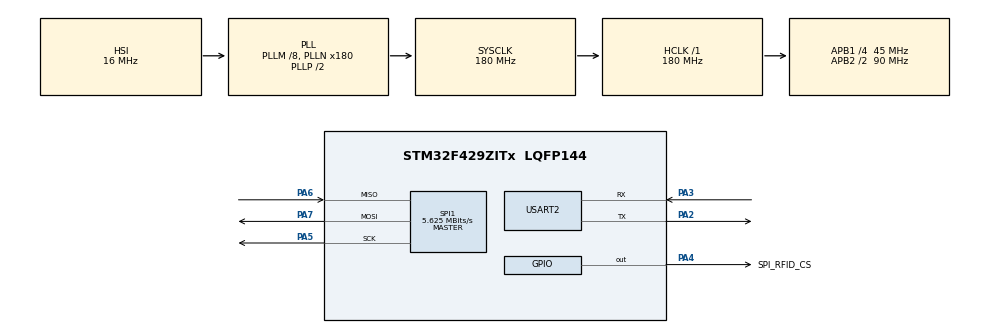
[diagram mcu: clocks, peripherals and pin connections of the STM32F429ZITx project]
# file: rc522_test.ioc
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Mcu.Family=STM32F4
Mcu.Name=STM32F429ZITx
Mcu.Package=LQFP144
NVIC.PriorityGroup=NVIC_PRIORITYGROUP_4
NVIC.USART2_IRQn=true\:0\:0\:false\:true\:true\:1\:true\:true
PA2.Mode=Asynchronous
PA2.Signal=USART2_TX
PA3.Mode=Asynchronous
PA3.Signal=USART2_RX
PA4.GPIO_Label=SPI_RFID_CS
PA4.GPIO_PuPd=GPIO_PULLUP
PA4.Signal=GPIO_Output
PA5.Mode=Full_Duplex_Master
PA5.Signal=SPI1_SCK
PA6.Mode=Full_Duplex_Master
PA6.Signal=SPI1_MISO
PA7.Mode=Full_Duplex_Master
PA7.Signal=SPI1_MOSI
ProjectManager.HeapSize=0x200
ProjectManager.StackSize=0x400
ProjectManager.TargetToolchain=TrueSTUDIO
RCC.48MHZClocksFreq_Value=90000000
RCC.AHBFreq_Value=180000000
RCC.APB1CLKDivider=RCC_HCLK_DIV4
RCC.APB1Freq_Value=45000000
RCC.APB1TimFreq_Value=90000000
RCC.APB2CLKDivider=RCC_HCLK_DIV2
RCC.APB2Freq_Value=90000000
RCC.APB2TimFreq_Value=180000000
RCC.CortexFreq_Value=180000000
RCC.HCLKFreq_Value=180000000
RCC.HSE_VALUE=25000000
RCC.HSI_VALUE=16000000
RCC.LSE_VALUE=32768
RCC.PLLM=8
RCC.PLLN=180
RCC.SYSCLKFreq_VALUE=180000000
RCC.SYSCLKSource=RCC_SYSCLKSOURCE_PLLCLK
RCC.VCOOutputFreq_Value=360000000
SPI1.BaudRatePrescaler=SPI_BAUDRATEPRESCALER_16
SPI1.CalculateBaudRate=5.625 MBits/s
SPI1.Direction=SPI_DIRECTION_2LINES
SPI1.Mode=SPI_MODE_MASTER
SPI1.VirtualType=VM_MASTER
USART2.VirtualMode=VM_ASYNC
board=custom

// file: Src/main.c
/* USER CODE BEGIN Header */
/**
  ******************************************************************************
  * @file           : main.c
  * @brief          : Main program body
  ******************************************************************************
  * @attention
  *
  * <h2><center>&copy; Copyright (c) 2019 STMicroelectronics.
  * All rights reserved.</center></h2>
  *
  * This software component is licensed by ST under BSD 3-Clause license,
  * the "License"; You may not use this file except in compliance with the
  * License. You may obtain a copy of the License at:
  *                        opensource.org/licenses/BSD-3-Clause
  *
  ******************************************************************************
  ******************************************************************************
  ******************************************************************************
  ******************************************************************************
  ******************************************************************************
  * 								@attention
  *
  *   WYSTARCZY INIT SPI1
  *   + GPIO_Output jako RFID_SPI_CS (hardwar'owy NNS Signal zabija czytnik...)
  *
  *
  ******************************************************************************
  ******************************************************************************
  ******************************************************************************
  ******************************************************************************
  ******************************************************************************
  */
/* USER CODE END Header */

#include "main.h"
#include "gfxsimulator.h"
#include "spi.h"
#include "usart.h"
#include "gpio.h"

/* USER CODE BEGIN Includes */
#include "RC522_driver.h"
/* USER CODE END Includes */

/* USER CODE BEGIN PV */
/* Private variables ---------------------------------------------------------*/

// variable RFID
unsigned char CardID[4];
unsigned char MyID[4] = {0x6A, 0x08, 0xE7, 0xAB};	//My card on my keys

uint8_t data[50];
uint16_t size = 0;
/* USER CODE END PFP */

/* USER CODE END PV */

void SystemClock_Config(void);
static void MX_NVIC_Init(void);
/* USER CODE BEGIN PFP */
/* Private function prototypes -----------------------------------------------*/

/* USER CODE END PFP */

int main(void)
{

  /* MCU Configuration--------------------------------------------------------*/

  /* Reset of all peripherals, Initializes the Flash interface and the Systick. */
  HAL_Init();

  /* Configure the system clock */
  SystemClock_Config();

  /* Initialize all configured peripherals */
  MX_GPIO_Init();
  MX_SPI1_Init();
  MX_USART2_UART_Init();
  MX_GFXSIMULATOR_Init();

  /* Initialize interrupts */
  MX_NVIC_Init();
  /* USER CODE BEGIN 2 */
	MFRC522_Init();
	printf("MFRC522_Init\n\r");
	printf("Waiting for RFID Card...!\n\r");
  /* USER CODE END 2 */

  /* Infinite loop */
	while (1) {

    /* USER CODE BEGIN 3 */
		if (MFRC522_Check(CardID) == MI_OK)
		{
			printf("[%02x-%02x-%02x-%02x] \r\n", CardID[0], CardID[1], CardID[2],CardID[3]);
			size = sprintf(data, "[%02x-%02x-%02x-%02x] \r\n", CardID[0],
					CardID[1], CardID[2], CardID[3]);
//			HAL_UART_Transmit_IT(&huart2, CardID, sizeof(CardID));
			HAL_UART_Transmit_IT(&huart2, data, size);
		}
		else
		{
			printf("Nie wykryto karty \r\n");
			size = sprintf(data, "Nie wykryto karty \r\n");
			HAL_UART_Transmit_IT(&huart2, data, size);
		}

		HAL_Delay(1000);

  /* USER CODE END 3 */
}
}
void SystemClock_Config(void)
{
  RCC_OscInitTypeDef RCC_OscInitStruct = {0};
  RCC_ClkInitTypeDef RCC_ClkInitStruct = {0};

  /** Configure the main internal regulator output voltage
  */
  __HAL_RCC_PWR_CLK_ENABLE();
  __HAL_PWR_VOLTAGESCALING_CONFIG(PWR_REGULATOR_VOLTAGE_SCALE1);
  /** Initializes the CPU, AHB and APB busses clocks
  */
  RCC_OscInitStruct.OscillatorType = RCC_OSCILLATORTYPE_HSI;
  RCC_OscInitStruct.HSIState = RCC_HSI_ON;
  RCC_OscInitStruct.HSICalibrationValue = RCC_HSICALIBRATION_DEFAULT;
  RCC_OscInitStruct.PLL.PLLState = RCC_PLL_ON;
  RCC_OscInitStruct.PLL.PLLSource = RCC_PLLSOURCE_HSI;
  RCC_OscInitStruct.PLL.PLLM = 8;
  RCC_OscInitStruct.PLL.PLLN = 180;
  RCC_OscInitStruct.PLL.PLLP = RCC_PLLP_DIV2;
  RCC_OscInitStruct.PLL.PLLQ = 4;
  if (HAL_RCC_OscConfig(&RCC_OscInitStruct) != HAL_OK)
  {
    Error_Handler();
  }
  /** Activate the Over-Drive mode
  */
  if (HAL_PWREx_EnableOverDrive() != HAL_OK)
  {
    Error_Handler();
  }
  /** Initializes the CPU, AHB and APB busses clocks
  */
  RCC_ClkInitStruct.ClockType = RCC_CLOCKTYPE_HCLK|RCC_CLOCKTYPE_SYSCLK
                              |RCC_CLOCKTYPE_PCLK1|RCC_CLOCKTYPE_PCLK2;
  RCC_ClkInitStruct.SYSCLKSource = RCC_SYSCLKSOURCE_PLLCLK;
  RCC_ClkInitStruct.AHBCLKDivider = RCC_SYSCLK_DIV1;
  RCC_ClkInitStruct.APB1CLKDivider = RCC_HCLK_DIV4;
  RCC_ClkInitStruct.APB2CLKDivider = RCC_HCLK_DIV2;

  if (HAL_RCC_ClockConfig(&RCC_ClkInitStruct, FLASH_LATENCY_5) != HAL_OK)
  {
    Error_Handler();
  }
}

/**
  * @brief NVIC Configuration.
  * @retval None
  */
static void MX_NVIC_Init(void)
{
  /* USART2_IRQn interrupt configuration */
  HAL_NVIC_SetPriority(USART2_IRQn, 0, 0);
  HAL_NVIC_EnableIRQ(USART2_IRQn);
}

void Error_Handler(void)
{
  while(1)
  {
  }
}

/************************ (C) COPYRIGHT STMicroelectronics *****END OF FILE****/
